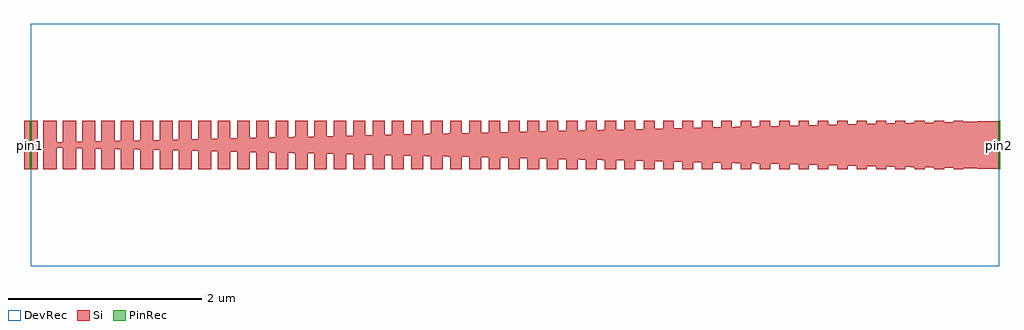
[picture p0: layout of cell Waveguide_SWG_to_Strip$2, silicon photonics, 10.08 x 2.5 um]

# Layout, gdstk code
import gdstk
lib = gdstk.Library(unit=1e-6, precision=1e-09)
def R(c, l, rs):  # rectangles x0, y0, x1, y1
    for r in rs: c.add(gdstk.rectangle(r[:2], r[2:], *l))
def P(c, l, *ps):  # polygons
    for p in ps: c.add(gdstk.Polygon(p, *l))
Si = (1, 0)
PinRec = (1, 10)
DevRec = (68, 0)

waveguide_swg_to_strip_2 = lib.new_cell('Waveguide_SWG_to_Strip$2')
R(waveguide_swg_to_strip_2, Si, [(-0.07,-0.25,0.07,0.25), (0.13,-0.25,0.269,0.25), (0.33,-0.25,0.468,0.25), (0.53,-0.25,0.668,0.25), (0.73,-0.25,0.867,0.25), (0.93,-0.25,1.066,0.25), (1.13,-0.25,1.265,0.25), (1.33,-0.25,1.464,0.25), (1.53,-0.25,1.663,0.25), (1.73,-0.25,1.863,0.25), (1.93,-0.25,2.062,0.25), (2.13,-0.25,2.261,0.25), (2.33,-0.25,2.46,0.25), (2.53,-0.25,2.659,0.25), (2.73,-0.25,2.859,0.25), (2.93,-0.25,3.058,0.25), (3.13,-0.25,3.257,0.25), (3.33,-0.25,3.456,0.25), (3.53,-0.25,3.655,0.25), (3.73,-0.25,3.854,0.25), (3.93,-0.25,4.054,0.25), (4.13,-0.25,4.253,0.25), (4.33,-0.25,4.452,0.25), (4.53,-0.25,4.651,0.25), (4.73,-0.25,4.85,0.25), (4.93,-0.25,5.05,0.25), (5.13,-0.25,5.249,0.25), (5.33,-0.25,5.448,0.25), (5.53,-0.25,5.647,0.25), (5.73,-0.25,5.846,0.25), (5.93,-0.25,6.046,0.25), (6.13,-0.25,6.245,0.25), (6.33,-0.25,6.444,0.25), (6.53,-0.25,6.643,0.25), (6.73,-0.25,6.842,0.25), (6.93,-0.25,7.041,0.25), (7.13,-0.25,7.241,0.25), (7.33,-0.25,7.44,0.25), (7.53,-0.25,7.639,0.25), (7.73,-0.25,7.838,0.25), (7.93,-0.25,8.037,0.25), (8.13,-0.25,8.237,0.25), (8.33,-0.25,8.436,0.25), (8.53,-0.25,8.635,0.25), (8.73,-0.25,8.834,0.25), (8.93,-0.25,9.033,0.25), (9.13,-0.25,9.232,0.25), (9.33,-0.25,9.432,0.25), (9.53,-0.25,9.631,0.25)])
P(waveguide_swg_to_strip_2, Si, [(10,-0.25),(0.204,-0.03),(0.204,0.03),(10,0.25)])
R(waveguide_swg_to_strip_2, DevRec, [(0,-1.25,10,1.25)])
waveguide_swg_to_strip_2.add(gdstk.FlexPath([(0.01,0),(-0.01,0)], 0.5, ends="flush", simple_path=True, layer=1, datatype=10))  # PinRec
waveguide_swg_to_strip_2.add(gdstk.FlexPath([(9.99,0),(10.01,0)], 0.5, ends="flush", simple_path=True, layer=1, datatype=10))  # PinRec
waveguide_swg_to_strip_2.add(gdstk.Label('pin1', (0,0), layer=1, texttype=10))
waveguide_swg_to_strip_2.add(gdstk.Label('pin2', (10,0), layer=1, texttype=10))

lib.write_gds('Waveguide_SWG_to_Strip_2.gds')
